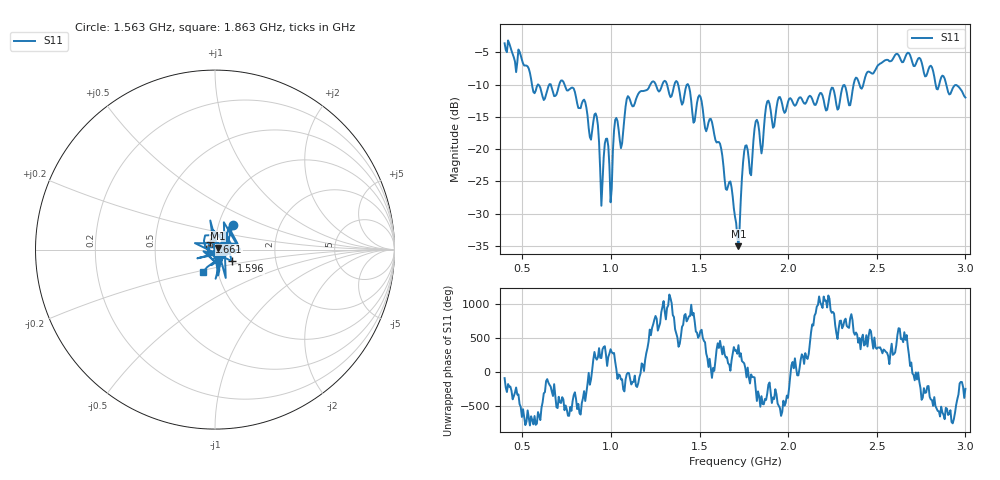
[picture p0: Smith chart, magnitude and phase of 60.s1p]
!Created with skrf (http://scikit-rf.org).
# Hz S RI R 50.0
!freq ReS11 ImS11
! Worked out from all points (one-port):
!   401 points, 400 MHz to 3 GHz, reference 50 ohm
!   lowest |S11| = -35.1 dB at 1.72 GHz (marker M1), VSWR 1.04, Z = 51.5 + j0.955 ohm
!   |S11| at or under -10 dB: 738.3 MHz to 1.222 GHz (483.8 MHz wide, 49.4 % of centre); 1.435 GHz to 2.369 GHz (933.7 MHz wide, 49.1 % of centre); 2.892 GHz to end of sweep (the widest 3 of 11)
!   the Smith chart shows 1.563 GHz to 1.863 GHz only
!   S11 on the Smith chart (normalised r, x): 1.563 GHz: 1.18, +0.33; 1.596 GHz: 1.19, -0.15; 1.661 GHz: 0.94, +0.08; 1.863 GHz: 0.85, -0.22
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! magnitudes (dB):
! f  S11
! 400 MHz  -3.6
! 621 MHz  -12.4
! 725 MHz  -9.3
! 848.5 MHz  -12.3
! 881 MHz  -18.1
! 913.5 MHz  -14.5
! 946 MHz  -28.8
! 972 MHz  -18.4
! 1.004 GHz  -26.1
! 1.03 GHz  -15.2
! 1.05 GHz  -18.6
! 1.095 GHz  -11.8
! 1.375 GHz  -9.6
! 1.563 GHz  -15.3
! 1.596 GHz  -19.0
! 1.661 GHz  -25.7
! 1.7 GHz  -30.5
! 1.72 GHz  -35.1
! 1.758 GHz  -19.5
! 1.784 GHz  -23.7
! 1.817 GHz  -15.7
! 1.863 GHz  -17.0
! 1.882 GHz  -12.6
! 1.915 GHz  -16.7
! 2.025 GHz  -12.7
! 2.35 GHz  -13.2
! 2.675 GHz  -5.0
! 3 GHz  -12.0
